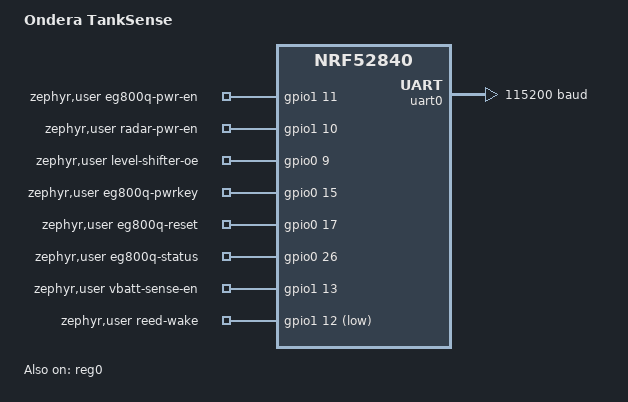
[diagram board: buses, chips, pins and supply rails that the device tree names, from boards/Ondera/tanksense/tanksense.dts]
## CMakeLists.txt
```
cmake_minimum_required(VERSION 3.20.0)
find_package(Zephyr REQUIRED HINTS $ENV{ZEPHYR_BASE})

project(ondera-tanksense-firmware)

target_sources(app PRIVATE src/main.c)
```

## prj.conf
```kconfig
CONFIG_GPIO=y

# EG800Q UART
CONFIG_SERIAL=y
CONFIG_UART_INTERRUPT_DRIVEN=y

# RTT bridge to the PC (over the debug probe)
CONFIG_USE_SEGGER_RTT=y
CONFIG_SEGGER_RTT_BUFFER_SIZE_UP=2048
CONFIG_SEGGER_RTT_BUFFER_SIZE_DOWN=256

# No console/logging - RTT channel 0 is used directly by the bridge
CONFIG_CONSOLE=n
CONFIG_UART_CONSOLE=n
CONFIG_RTT_CONSOLE=n
CONFIG_LOG=n
```

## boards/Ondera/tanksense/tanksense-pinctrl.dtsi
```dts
&pinctrl {
	/* EG800Q via TXS0108E. Direction CONFIRMED in KiCad:
	 * UART_EG800Q_RXD (P0.08) -> MAIN_RXD (17)  = nRF TX
	 * UART_EG800Q_TXD (P0.06) <- MAIN_TXD (18)  = nRF RX
	 * RTS/CTS (P0.27/P1.08) not assigned yet - flow control off for first test */
	uart0_default: uart0_default {
		group1 {
			psels = <NRF_PSEL(UART_TX, 0, 8)>;
		};
		group2 {
			psels = <NRF_PSEL(UART_RX, 0, 6)>;
			bias-pull-up;
		};
	};

	uart0_sleep: uart0_sleep {
		group1 {
			psels = <NRF_PSEL(UART_TX, 0, 8)>,
				<NRF_PSEL(UART_RX, 0, 6)>;
			low-power-enable;
		};
	};
};
```

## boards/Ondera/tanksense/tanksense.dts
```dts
/dts-v1/;

#include <nordic/nrf52840_qiaa.dtsi>
#include <zephyr/dt-bindings/regulator/nrf5x.h>
#include "tanksense-pinctrl.dtsi"

/ {
	model = "Ondera TankSense";
	compatible = "Ondera,tanksense";

	chosen {
		zephyr,sram = &sram0;
		zephyr,flash = &flash0;
		zephyr,code-partition = &slot0_partition;
	};

	/* Board control pins, from the 02_NRF52840 sheet */
	zephyr,user {
		eg800q-pwr-en-gpios    = <&gpio1 11 GPIO_ACTIVE_HIGH>; /* U1 TPS22918 ON   */
		radar-pwr-en-gpios     = <&gpio1 10 GPIO_ACTIVE_HIGH>; /* Q2 XC6220 CE     */
		level-shifter-oe-gpios = <&gpio0 9  GPIO_ACTIVE_HIGH>; /* U6 TXS0108E OE   */
		eg800q-pwrkey-gpios    = <&gpio0 15 GPIO_ACTIVE_HIGH>; /* via TXS - see HW issue */
		eg800q-reset-gpios     = <&gpio0 17 GPIO_ACTIVE_HIGH>; /* via TXS - see HW issue */
		eg800q-status-gpios    = <&gpio0 26 GPIO_ACTIVE_HIGH>;
		vbatt-sense-en-gpios   = <&gpio1 13 GPIO_ACTIVE_HIGH>; /* Q3 BSS138 gate   */
		reed-wake-gpios        = <&gpio1 12 (GPIO_ACTIVE_LOW | GPIO_PULL_UP)>;
	};
};

&gpiote { status = "okay"; };
&gpio0  { status = "okay"; };
&gpio1  { status = "okay"; };

/* DC/DC converters: verified on board 2 not to affect SWD access.
 * REG0 = high-voltage stage (L2 on DCCH), REG1 = main stage (inductor inside module). */
&reg0 { status = "okay"; };
&reg1 { regulator-initial-mode = <NRF5X_REG_MODE_DCDC>; };

/* NFC pins as GPIO (matches factory UICR). PSELRESET deliberately NOT set. */
&uicr {
	nfct-pins-as-gpios;
};

/* EG800Q main UART - directions confirmed; flow control off for first test */
&uart0 {
	compatible = "nordic,nrf-uarte";
	status = "okay";
	current-speed = <115200>;
	pinctrl-0 = <&uart0_default>;
	pinctrl-1 = <&uart0_sleep>;
	pinctrl-names = "default", "sleep";

};

&flash0 {
	partitions {
		#address-cells = <1>;
		#size-cells = <1>;
		ranges;

		boot_partition: partition@0 {
			compatible = "zephyr,mapped-partition";
			label = "mcuboot";
			reg = <0x0 DT_SIZE_K(48)>;
		};
		slot0_partition: partition@c000 {
			compatible = "zephyr,mapped-partition";
			label = "image-0";
			reg = <0xc000 DT_SIZE_K(472)>;
		};
		slot1_partition: partition@82000 {
			compatible = "zephyr,mapped-partition";
			label = "image-1";
			reg = <0x82000 DT_SIZE_K(472)>;
		};
		storage_partition: partition@f8000 {
			compatible = "zephyr,mapped-partition";
			label = "storage";
			reg = <0xf8000 DT_SIZE_K(32)>;
		};
	};
};
```

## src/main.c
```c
#include <zephyr/kernel.h>
#include <zephyr/init.h>
#include <zephyr/drivers/gpio.h>
#include <zephyr/drivers/uart.h>
#include <hal/nrf_gpio.h>
#include <SEGGER_RTT.h>
#include <string.h>
#include <stdio.h>

#define USER DT_PATH(zephyr_user)

static const struct gpio_dt_spec eg800q_pwr = GPIO_DT_SPEC_GET(USER, eg800q_pwr_en_gpios);
static const struct gpio_dt_spec radar_pwr  = GPIO_DT_SPEC_GET(USER, radar_pwr_en_gpios);
static const struct gpio_dt_spec ls_oe      = GPIO_DT_SPEC_GET(USER, level_shifter_oe_gpios);
static const struct gpio_dt_spec vbat_en    = GPIO_DT_SPEC_GET(USER, vbatt_sense_en_gpios);
static const struct gpio_dt_spec eg_status  = GPIO_DT_SPEC_GET(USER, eg800q_status_gpios);

static const struct device *const modem = DEVICE_DT_GET(DT_NODELABEL(uart0));

/* Bring-up safety net: runs before anything else in Zephyr. */
static int bringup_safe_start(void)
{
	nrf_gpio_pin_clear(NRF_GPIO_PIN_MAP(1, 11));   /* EG800Q_PWR_EN */
	nrf_gpio_cfg_output(NRF_GPIO_PIN_MAP(1, 11));
	nrf_gpio_pin_clear(NRF_GPIO_PIN_MAP(1, 10));   /* RADAR_PWR_EN  */
	nrf_gpio_cfg_output(NRF_GPIO_PIN_MAP(1, 10));

	k_busy_wait(10 * 1000 * 1000);                 /* 10 s debug window */
	return 0;
}
SYS_INIT(bringup_safe_start, PRE_KERNEL_1, 0);

static void rtt_puts(const char *s)
{
	SEGGER_RTT_WriteString(0, s);
}

/* EG800Q -> PC: forward every received byte to RTT */
static void modem_isr(const struct device *dev, void *user_data)
{
	uint8_t buf[64];

	if (!uart_irq_update(dev)) {
		return;
	}
	while (uart_irq_rx_ready(dev)) {
		int n = uart_fifo_read(dev, buf, sizeof(buf));
		if (n <= 0) {
			break;
		}
		SEGGER_RTT_Write(0, buf, n);
	}
}

static void modem_send_line(const char *line)
{
	for (const char *p = line; *p; p++) {
		uart_poll_out(modem, *p);
	}
	uart_poll_out(modem, '\r');
}

static void local_command(const char *cmd)
{
	char msg[64];

	if (strcmp(cmd, "!vbat on") == 0) {
		gpio_pin_set_dt(&eg800q_pwr, 1);
		rtt_puts("[nrf] EG800Q VBAT ON - now pulse PWRKEY (U6 pin 4) ~1 s\r\n");
	} else if (strcmp(cmd, "!vbat off") == 0) {
		gpio_pin_set_dt(&ls_oe, 0);
		gpio_pin_set_dt(&eg800q_pwr, 0);
		rtt_puts("[nrf] OE OFF, EG800Q VBAT OFF\r\n");
	} else if (strcmp(cmd, "!oe on") == 0) {
		gpio_pin_set_dt(&ls_oe, 1);
		rtt_puts("[nrf] Level shifter ON (only if VDD_EXT = 1.8 V!)\r\n");
	} else if (strcmp(cmd, "!oe off") == 0) {
		gpio_pin_set_dt(&ls_oe, 0);
		rtt_puts("[nrf] Level shifter OFF\r\n");
	} else if (strcmp(cmd, "!status") == 0) {
		snprintf(msg, sizeof(msg), "[nrf] STATUS pin = %d (valid only with OE on)\r\n",
			 gpio_pin_get_dt(&eg_status));
		rtt_puts(msg);
	} else {
		rtt_puts("[nrf] Commands: !vbat on|off, !oe on|off, !status, !help\r\n"
			 "[nrf] Anything else is sent to the EG800Q as an AT command.\r\n");
	}
}

int main(void)
{
	char line[128];
	size_t len = 0;
	char c;

	/* Safe state first: everything OFF */
	gpio_pin_configure_dt(&eg800q_pwr, GPIO_OUTPUT_INACTIVE);
	gpio_pin_configure_dt(&radar_pwr,  GPIO_OUTPUT_INACTIVE);
	gpio_pin_configure_dt(&ls_oe,      GPIO_OUTPUT_INACTIVE);
	gpio_pin_configure_dt(&vbat_en,    GPIO_OUTPUT_INACTIVE);
	gpio_pin_configure_dt(&eg_status,  GPIO_INPUT);

	if (!device_is_ready(modem)) {
		rtt_puts("[nrf] ERROR: modem UART not ready\r\n");
		return 0;
	}
	uart_irq_callback_set(modem, modem_isr);
	uart_irq_rx_enable(modem);

	rtt_puts("\r\n[nrf] TankSense EG800Q bridge ready. Type !help\r\n");

	/* PC -> nRF: line-buffered. '!' lines are local, others go to the EG800Q */
	while (1) {
		if (SEGGER_RTT_Read(0, &c, 1) == 1) {
			if (c == '\r' || c == '\n') {
				if (len > 0) {
					line[len] = '\0';
					if (line[0] == '!') {
						local_command(line);
					} else {
						modem_send_line(line);
					}
					len = 0;
				}
			} else if (len < sizeof(line) - 1) {
				line[len++] = c;
			}
		} else {
			k_msleep(2);
		}
	}
	return 0;
}
```
